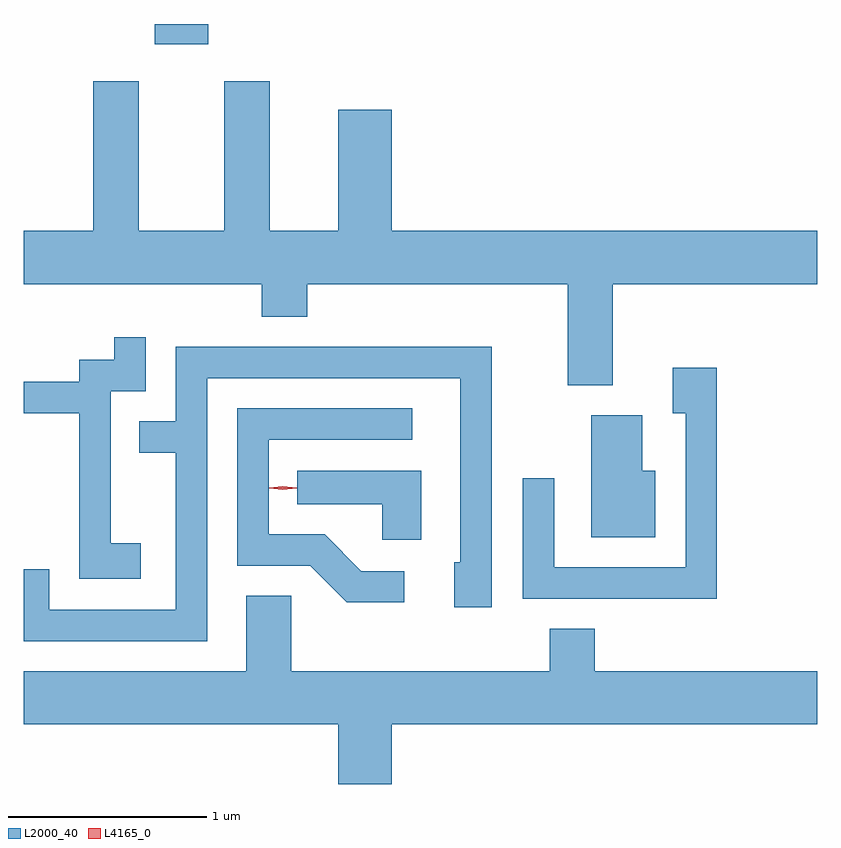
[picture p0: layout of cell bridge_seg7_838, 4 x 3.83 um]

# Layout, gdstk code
import gdstk
lib = gdstk.Library(unit=1e-6, precision=1e-09)
def R(c, l, rs):  # rectangles x0, y0, x1, y1
    for r in rs: c.add(gdstk.rectangle(r[:2], r[2:], *l))
def P(c, l, *ps):  # polygons
    for p in ps: c.add(gdstk.Polygon(p, *l))
L2000_40 = (2000, 40)
L4165_0 = (4165, 0)

bridge_seg7_838 = lib.new_cell('bridge_seg7_838')
R(bridge_seg7_838, L2000_40, [(314.051,1697.766,314.319,1697.867)])
P(bridge_seg7_838, L2000_40, [(316.359,1696.556),(317.39,1696.556),(317.39,1696.824),(315.244,1696.824),(315.244,1697.434),(314.976,1697.434),(314.976,1696.824),(314.629,1696.824),(314.629,1697.579),(314.401,1697.579),(314.401,1696.824),(313.969,1696.824),(313.969,1697.579),(313.741,1697.579),(313.741,1696.824),(313.39,1696.824),(313.39,1696.556),(314.591,1696.556),(314.591,1696.391),(314.819,1696.391),(314.819,1696.556),(316.131,1696.556),(316.131,1696.046),(316.359,1696.046)],
  [(313.979,1695.249),(313.829,1695.249),(313.829,1696.016),(314.004,1696.016),(314.004,1696.288),(313.846,1696.288),(313.846,1696.174),(313.671,1696.174),(313.671,1696.064),(313.39,1696.064),(313.39,1695.906),(313.671,1695.906),(313.671,1695.071),(313.979,1695.071)],
  [(314.314,1696.081),(315.591,1696.081),(315.591,1695.154),(315.561,1695.154),(315.561,1694.926),(315.749,1694.926),(315.749,1696.239),(314.156,1696.239),(314.156,1695.864),(313.973,1695.864),(313.973,1695.706),(314.156,1695.706),(314.156,1694.914),(313.519,1694.914),(313.519,1695.119),(313.39,1695.119),(313.39,1694.756),(314.314,1694.756)],
  [(316.884,1696.134),(316.661,1696.134),(316.661,1695.906),(316.726,1695.906),(316.726,1695.129),(316.064,1695.129),(316.064,1695.578),(315.906,1695.578),(315.906,1694.971),(316.884,1694.971)],
  [(315.308,1695.109),(315.092,1695.109),(314.907,1695.294),(314.624,1695.294),(314.624,1695.771),(315.348,1695.771),(315.348,1695.929),(314.466,1695.929),(314.466,1695.136),(314.834,1695.136),(315.019,1694.951),(315.308,1694.951)],
  [(316.574,1695.614),(316.509,1695.614),(316.509,1695.894),(316.251,1695.894),(316.251,1695.281),(316.574,1695.281)],
  [(315.394,1695.614),(314.768,1695.614),(314.768,1695.446),(315.196,1695.446),(315.196,1695.266),(315.394,1695.266)],
  [(315.244,1694.336),(317.39,1694.336),(317.39,1694.604),(316.269,1694.604),(316.269,1694.819),(316.041,1694.819),(316.041,1694.604),(314.739,1694.604),(314.739,1694.984),(314.511,1694.984),(314.511,1694.604),(313.39,1694.604),(313.39,1694.336),(314.976,1694.336),(314.976,1694.036),(315.244,1694.036)])
P(bridge_seg7_838, L4165_0, [(314.696,1695.518),(314.627,1695.528),(314.627,1695.528),(314.627,1695.529),(314.696,1695.538),(314.766,1695.529),(314.766,1695.528),(314.766,1695.528)],
  [(314.696,1695.518),(314.63,1695.528),(314.629,1695.528),(314.63,1695.529),(314.696,1695.538),(314.762,1695.529),(314.763,1695.528),(314.762,1695.528)])

lib.write_gds('bridge_seg7_838.gds')
